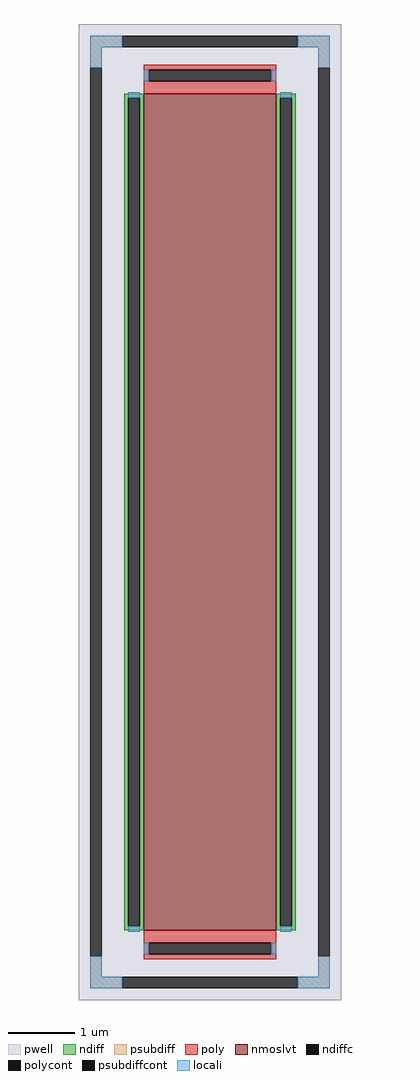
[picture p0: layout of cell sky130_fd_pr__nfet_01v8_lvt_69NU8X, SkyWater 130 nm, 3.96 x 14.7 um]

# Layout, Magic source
magic
tech sky130A
<< pwell >>
rect -198 -735 198 735
<< nmoslvt >>
rect -100 -630 100 630
<< ndiff >>
rect -129 624 -100 630
rect -129 -624 -123 624
rect -106 -624 -100 624
rect -129 -630 -100 -624
rect 100 624 129 630
rect 100 -624 106 624
rect 123 -624 129 624
rect 100 -630 129 -624
<< ndiffc >>
rect -123 -624 -106 624
rect 106 -624 123 624
<< psubdiff >>
rect -180 700 -132 717
rect 132 700 180 717
rect -180 669 -163 700
rect 163 669 180 700
rect -180 -700 -163 -669
rect 163 -700 180 -669
rect -180 -717 -132 -700
rect 132 -717 180 -700
<< psubdiffcont >>
rect -132 700 132 717
rect -180 -669 -163 669
rect 163 -669 180 669
rect -132 -717 132 -700
<< poly >>
rect -100 666 100 674
rect -100 649 -92 666
rect 92 649 100 666
rect -100 630 100 649
rect -100 -649 100 -630
rect -100 -666 -92 -649
rect 92 -666 100 -649
rect -100 -674 100 -666
<< polycont >>
rect -92 649 92 666
rect -92 -666 92 -649
<< locali >>
rect -180 700 -132 717
rect 132 700 180 717
rect -180 669 -163 700
rect 163 669 180 700
rect -100 649 -92 666
rect 92 649 100 666
rect -123 624 -106 632
rect -123 -632 -106 -624
rect 106 624 123 632
rect 106 -632 123 -624
rect -100 -666 -92 -649
rect 92 -666 100 -649
rect -180 -700 -163 -669
rect 163 -700 180 -669
rect -180 -717 -132 -700
rect 132 -717 180 -700
<< properties >>
string gencell sky130_fd_pr__nfet_01v8_lvt
string FIXED_BBOX -171 -708 171 708
string parameters w 12.6 l 2 m 1 nf 1 diffcov 100 polycov 100 guard 1 glc 1 grc 1 gtc 1 gbc 1 tbcov 100 rlcov 100 topc 1 botc 1 poverlap 0 doverlap 1 lmin 0.15 wmin 0.42 compatible {sky130_fd_pr__nfet_01v8 sky130_fd_pr__nfet_01v8_lvt  sky130_fd_bs_flash__special_sonosfet_star  sky130_fd_pr__nfet_g5v0d10v5 sky130_fd_pr__nfet_05v0_nvt} full_metal 1
string library sky130
<< end >>
